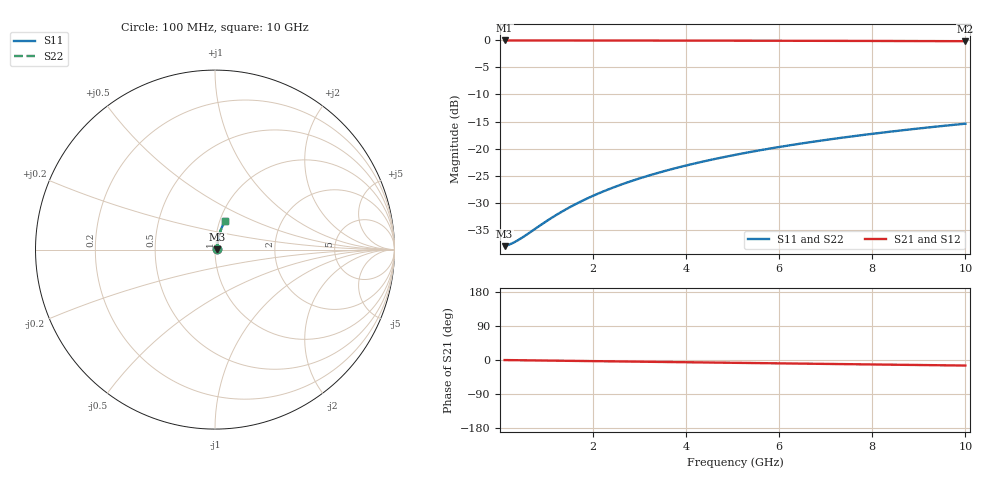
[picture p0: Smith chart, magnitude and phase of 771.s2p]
# Hz S RI R 50.00
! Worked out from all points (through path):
!   100 points, 100 MHz to 10 GHz, reference 50 ohm
!   highest |S21| = -0.11 dB at 100 MHz (marker M1); lowest = -0.2 dB at 10 GHz (marker M2)
!   group delay of S21, straight-line fit = 4.07 ps
!   lowest |S11| = -37.9 dB at 100 MHz (marker M3), VSWR 1.03, Z = 51.3 + j0.174 ohm
!   |S11| at or under -10 dB: start of sweep to end of sweep
!   |S22| runs from -37.9 to -15.4 dB; largest |S21 - S12| = 0
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1e8  0.0126 0.00169  0.9874 -0.00255  0.9874 -0.00255  0.0126 0.00169
2e8  0.0127 0.00339  0.9873 -0.00509  0.9873 -0.00509  0.0127 0.00339
3e8  0.0128 0.00508  0.9872 -0.00764  0.9872 -0.00764  0.0128 0.00508
4e8  0.0129 0.00678  0.9871 -0.0102  0.9871 -0.0102  0.0129 0.00678
6e8  0.013 0.0102  0.9869 -0.0153  0.9869 -0.0153  0.013 0.0102
1e9  0.0134 0.0169  0.9865 -0.0254  0.9865 -0.0254  0.0134 0.0169
1.2e9  0.0137 0.0203  0.9863 -0.0305  0.9863 -0.0305  0.0137 0.0203
1.5e9  0.0141 0.0254  0.9858 -0.0381  0.9858 -0.0381  0.0141 0.0254
1.8e9  0.0146 0.0304  0.9853 -0.0457  0.9853 -0.0457  0.0146 0.0304
2.1e9  0.0151 0.0355  0.9847 -0.0533  0.9847 -0.0533  0.0151 0.0355
2.5e9  0.016 0.0422  0.9838 -0.0635  0.9838 -0.0635  0.016 0.0422
2.9e9  0.017 0.0488  0.9827 -0.0736  0.9827 -0.0736  0.017 0.0488
3.4e9  0.0184 0.0572  0.9811 -0.0861  0.9811 -0.0861  0.0184 0.0572
3.8e9  0.0197 0.0638  0.9798 -0.0962  0.9798 -0.0962  0.0197 0.0638
4.2e9  0.0211 0.0704  0.9782 -0.1062  0.9782 -0.1062  0.0211 0.0704
4.6e9  0.0227 0.0769  0.9765 -0.1161  0.9765 -0.1161  0.0227 0.0769
5.1e9  0.0248 0.0851  0.9742 -0.1286  0.9742 -0.1286  0.0248 0.0851
5.9e9  0.0286 0.0979  0.9701 -0.1483  0.9701 -0.1483  0.0286 0.0979
6.7e9  0.033 0.1106  0.9653 -0.1678  0.9653 -0.1678  0.033 0.1106
7.5e9  0.0378 0.1231  0.9601 -0.1871  0.9601 -0.1871  0.0378 0.1231
8.4e9  0.0438 0.1368  0.9535 -0.2085  0.9535 -0.2085  0.0438 0.1368
1e10  0.056 0.1603  0.9403 -0.2458  0.9403 -0.2458  0.056 0.1603
